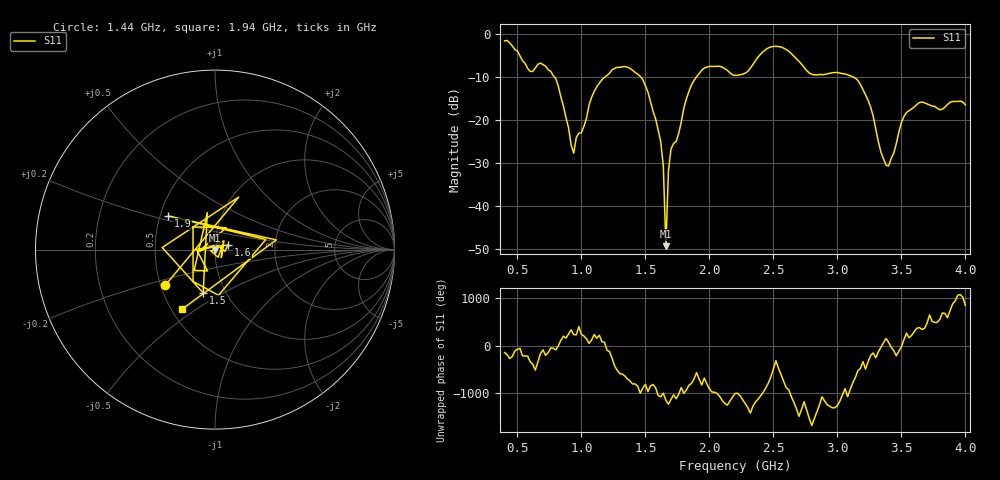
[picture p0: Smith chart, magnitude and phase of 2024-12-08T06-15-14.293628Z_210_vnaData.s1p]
!Created with skrf (http://scikit-rf.org).
# Hz S RI R 50.0
!freq ReS11 ImS11
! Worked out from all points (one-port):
!   181 points, 400 MHz to 4 GHz, reference 50 ohm
!   lowest |S11| = -49.3 dB at 1.66 GHz (marker M1), VSWR 1.01, Z = 50 - j0.339 ohm
!   |S11| at or under -10 dB: 789 MHz to 1.182 GHz (393.4 MHz wide, 39.9 % of centre); 1.464 GHz to 1.898 GHz (434.1 MHz wide, 25.8 % of centre); 3.123 GHz to end of sweep
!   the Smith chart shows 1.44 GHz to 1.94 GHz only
!   S11 on the Smith chart (normalised r, x): 1.44 GHz: 0.53, -0.24; 1.5 GHz: 0.78, -0.40; 1.6 GHz: 1.15, +0.06; 1.9 GHz: 0.55, +0.23; 1.94 GHz: 0.57, -0.44
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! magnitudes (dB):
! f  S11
! 400 MHz  -1.6
! 600 MHz  -8.7
! 680 MHz  -6.8
! 760 MHz  -8.7
! 860 MHz  -16.8
! 940 MHz  -27.7
! 1.1 GHz  -13.4
! 1.3 GHz  -7.7
! 1.44 GHz  -9.3
! 1.5 GHz  -12.0
! 1.6 GHz  -22.3
! 1.64 GHz  -30.7
! 1.66 GHz  -49.3
! 1.68 GHz  -31.8
! 1.7 GHz  -26.7
! 1.76 GHz  -23.1
! 1.82 GHz  -15.1
! 1.9 GHz  -9.9
! 1.94 GHz  -8.4
! 2.2 GHz  -9.6
! 2.48 GHz  -3.0
! 2.66 GHz  -5.1
! 2.8 GHz  -9.4
! 3.1 GHz  -9.7
! 3.24 GHz  -15.4
! 3.38 GHz  -30.5
! 3.56 GHz  -17.8
! 4 GHz  -16.5
